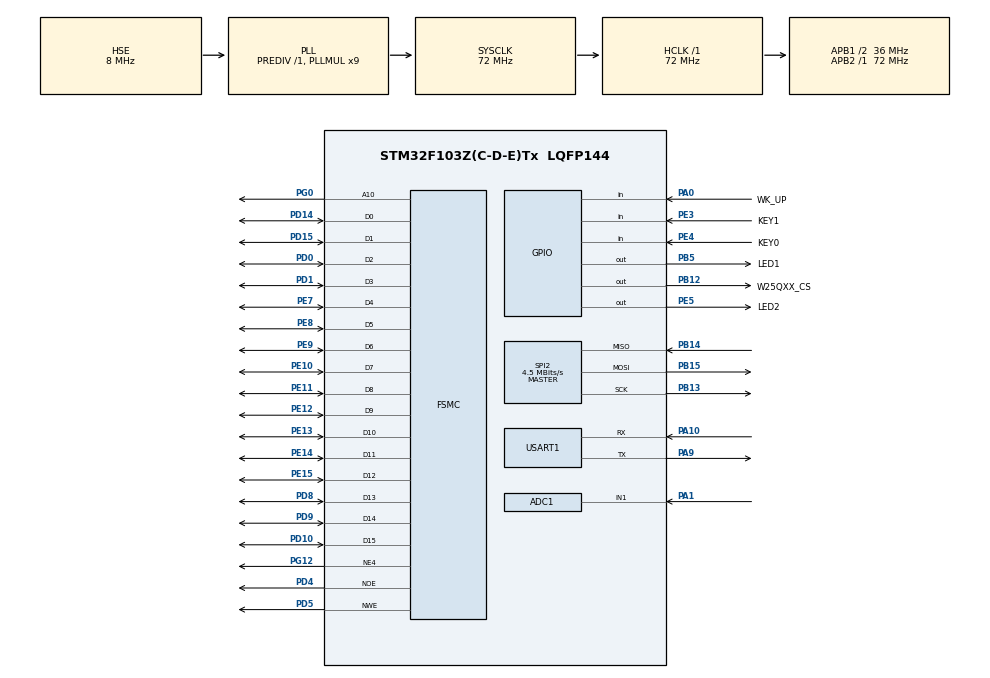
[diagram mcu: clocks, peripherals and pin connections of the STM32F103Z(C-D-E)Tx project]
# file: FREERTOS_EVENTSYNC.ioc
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ADC1.Channel-3\#ChannelRegularConversion=ADC_CHANNEL_1
ADC1.ExternalTrigConv=ADC_EXTERNALTRIGCONV_T3_TRGO
ADC1.NbrOfConversionFlag=1
ADC1.Rank-3\#ChannelRegularConversion=1
ADC1.SamplingTime-3\#ChannelRegularConversion=ADC_SAMPLETIME_1CYCLE_5
ADC1.master=1
FREERTOS.BinarySemaphores01=BinSem_DataReady,Dynamic,NULL
FREERTOS.INCLUDE_xEventGroupSetBitFromISR=1
FREERTOS.INCLUDE_xTaskAbortDelay=1
FREERTOS.INCLUDE_xTaskGetCurrentTaskHandle=1
FREERTOS.INCLUDE_xTaskGetHandle=1
FREERTOS.Queues01=Queue_Keys,10,uint8_t,0,Dynamic,NULL,NULL
FREERTOS.Tasks01=Task_LCD,24,128,AppTask_LCD,Default,NULL,Dynamic,NULL,NULL;Task_LED1,24,128,AppTask_LED1,Default,NULL,Dynamic,NULL,NULL;Task_LED2,24,128,AppTask_LED2,Default,NULL,Dynamic,NULL,NULL
FSMC.AddressSetupTime4=6
FSMC.BusTurnAroundDuration4=0
FSMC.DataSetupTime4=26
FSMC.ExtendedAddressSetupTime4=3
FSMC.ExtendedBusTurnAroundDuration4=0
FSMC.ExtendedDataSetupTime4=6
FSMC.ExtendedMode4=FSMC_EXTENDED_MODE_ENABLE
Mcu.Family=STM32F1
Mcu.Name=STM32F103Z(C-D-E)Tx
Mcu.Package=LQFP144
NVIC.PriorityGroup=NVIC_PRIORITYGROUP_4
NVIC.RTC_Alarm_IRQn=true\:5\:0\:false\:false\:true\:true\:true\:true\:true
NVIC.RTC_IRQn=true\:5\:0\:false\:false\:true\:true\:true\:true\:true
NVIC.TIM6_IRQn=true\:15\:0\:false\:false\:true\:false\:false\:true\:true
NVIC.TimeBase=TIM6_IRQn
NVIC.TimeBaseIP=TIM6
NVIC.USART1_IRQn=true\:5\:0\:false\:false\:true\:true\:true\:true\:true
OSC_IN.Mode=HSE-External-Oscillator
OSC_IN.Signal=RCC_OSC_IN
OSC_OUT.Mode=HSE-External-Oscillator
OSC_OUT.Signal=RCC_OSC_OUT
PA0-WKUP.GPIO_Label=WK_UP
PA0-WKUP.GPIO_PuPd=GPIO_PULLDOWN
PA0-WKUP.Signal=GPIO_Input
PA1.Signal=ADCx_IN1
PA10.Mode=Asynchronous
PA10.Signal=USART1_RX
PA13.Mode=Serial_Wire
PA13.Signal=SYS_JTMS-SWDIO
PA14.Mode=Serial_Wire
PA14.Signal=SYS_JTCK-SWCLK
PA9.Mode=Asynchronous
PA9.Signal=USART1_TX
PB12.GPIO_Label=W25QXX_CS
PB12.GPIO_PuPd=GPIO_PULLUP
PB12.GPIO_Speed=GPIO_SPEED_FREQ_HIGH
PB12.PinState=GPIO_PIN_SET
PB12.Signal=GPIO_Output
PB13.Mode=Full_Duplex_Master
PB13.Signal=SPI2_SCK
PB14.Mode=Full_Duplex_Master
PB14.Signal=SPI2_MISO
PB15.Mode=Full_Duplex_Master
PB15.Signal=SPI2_MOSI
PB5.GPIO_Label=LED1
PB5.GPIO_Speed=GPIO_SPEED_FREQ_HIGH
PB5.Signal=GPIO_Output
PC14-OSC32_IN.Mode=LSE-External-Oscillator
PC14-OSC32_IN.Signal=RCC_OSC32_IN
PC15-OSC32_OUT.Mode=LSE-External-Oscillator
PC15-OSC32_OUT.Signal=RCC_OSC32_OUT
PD0.Signal=FSMC_D2_DA2
PD1.Signal=FSMC_D3_DA3
PD10.Signal=FSMC_D15_DA15
PD14.Signal=FSMC_D0_DA0
PD15.Signal=FSMC_D1_DA1
PD4.Signal=FSMC_NOE
PD5.Signal=FSMC_NWE
PD8.Signal=FSMC_D13_DA13
PD9.Signal=FSMC_D14_DA14
PE10.Signal=FSMC_D7_DA7
PE11.Signal=FSMC_D8_DA8
PE12.Signal=FSMC_D9_DA9
PE13.Signal=FSMC_D10_DA10
PE14.Signal=FSMC_D11_DA11
PE15.Signal=FSMC_D12_DA12
PE3.GPIO_Label=KEY1
PE3.GPIO_PuPd=GPIO_PULLUP
PE3.Signal=GPIO_Input
PE4.GPIO_Label=KEY0
PE4.GPIO_PuPd=GPIO_PULLUP
PE4.Signal=GPIO_Input
PE5.GPIO_Label=LED2
PE5.GPIO_Speed=GPIO_SPEED_FREQ_HIGH
PE5.Signal=GPIO_Output
PE7.Signal=FSMC_D4_DA4
PE8.Signal=FSMC_D5_DA5
PE9.Signal=FSMC_D6_DA6
PG0.Signal=FSMC_A10
PG12.Mode=NorPsramChipSelect4_4
PG12.Signal=FSMC_NE4
ProjectManager.HeapSize=0x200
ProjectManager.StackSize=0x400
ProjectManager.TargetToolchain=STM32CubeIDE
RCC.AHBFreq_Value=72000000
RCC.APB1CLKDivider=RCC_HCLK_DIV2
RCC.APB1Freq_Value=36000000
RCC.APB1TimFreq_Value=72000000
RCC.APB2Freq_Value=72000000
RCC.APB2TimFreq_Value=72000000
RCC.HCLKFreq_Value=72000000
RCC.PLLMUL=RCC_PLL_MUL9
RCC.PLLSourceVirtual=RCC_PLLSOURCE_HSE
RCC.RTCClockSelection=RCC_RTCCLKSOURCE_LSE
RCC.SYSCLKFreq_VALUE=72000000
RCC.SYSCLKSource=RCC_SYSCLKSOURCE_PLLCLK
RCC.USBFreq_Value=72000000
RTC.AutoPrediv=RTC_AUTO_1_SECOND
RTC.Format=RTC_FORMAT_BIN
SH.ADCx_IN1.0=ADC1_IN1,IN1
SH.FSMC_A10.0=FSMC_A10,A10_4
SH.FSMC_D0_DA0.0=FSMC_D0,16b-d4
SH.FSMC_D10_DA10.0=FSMC_D10,16b-d4
SH.FSMC_D11_DA11.0=FSMC_D11,16b-d4
SH.FSMC_D12_DA12.0=FSMC_D12,16b-d4
SH.FSMC_D13_DA13.0=FSMC_D13,16b-d4
SH.FSMC_D14_DA14.0=FSMC_D14,16b-d4
SH.FSMC_D15_DA15.0=FSMC_D15,16b-d4
SH.FSMC_D1_DA1.0=FSMC_D1,16b-d4
SH.FSMC_D2_DA2.0=FSMC_D2,16b-d4
SH.FSMC_D3_DA3.0=FSMC_D3,16b-d4
SH.FSMC_D4_DA4.0=FSMC_D4,16b-d4
SH.FSMC_D5_DA5.0=FSMC_D5,16b-d4
SH.FSMC_D6_DA6.0=FSMC_D6,16b-d4
SH.FSMC_D7_DA7.0=FSMC_D7,16b-d4
SH.FSMC_D8_DA8.0=FSMC_D8,16b-d4
SH.FSMC_D9_DA9.0=FSMC_D9,16b-d4
SH.FSMC_NOE.0=FSMC_NOE,Lcd4
SH.FSMC_NWE.0=FSMC_NWE,Lcd4
SPI2.BaudRatePrescaler=SPI_BAUDRATEPRESCALER_8
SPI2.CLKPhase=SPI_PHASE_2EDGE
SPI2.CLKPolarity=SPI_POLARITY_HIGH
SPI2.CRCCalculation=SPI_CRCCALCULATION_DISABLE
SPI2.CalculateBaudRate=4.5 MBits/s
SPI2.Direction=SPI_DIRECTION_2LINES
SPI2.Mode=SPI_MODE_MASTER
SPI2.VirtualType=VM_MASTER
TIM3.Period=4999
TIM3.Prescaler=7199
TIM3.TIM_MasterOutputTrigger=TIM_TRGO_UPDATE
USART1.VirtualMode=VM_ASYNC
VP_FREERTOS_VS_CMSIS_V2.Mode=CMSIS_V2
VP_RTC_VS_RTC_Activate.Mode=RTC_Enabled
VP_SYS_VS_tim6.Mode=TIM6
VP_TIM3_VS_ClockSourceINT.Mode=Internal
board=custom

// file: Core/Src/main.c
/* USER CODE BEGIN Header */
/**
  ******************************************************************************
  * @file           : main.c
  * @brief          : Main program body
  ******************************************************************************
  * @attention
  *
  * Copyright (c) 2023 STMicroelectronics.
  * All rights reserved.
  *
  * This software is licensed under terms that can be found in the LICENSE file
  * in the root directory of this software component.
  * If no LICENSE file comes with this software, it is provided AS-IS.
  *
  ******************************************************************************
  */
/* USER CODE END Header */
#include "main.h"
#include "cmsis_os.h"
#include "adc.h"
#include "rtc.h"
#include "spi.h"
#include "tim.h"
#include "usart.h"
#include "gpio.h"
#include "fsmc.h"

/* USER CODE BEGIN Includes */
#include "stdio.h"
#include "lcd.h"
#include "w25qxx.h"
#include <string.h>
/* USER CODE END Includes */

void SystemClock_Config(void);
void MX_FREERTOS_Init(void);

int main(void)
{
  /* USER CODE BEGIN 1 */
	int x = 0,FLASH_SIZE,id;
	u8 lcd_id[12],datatemp[20];						//存放LCD ID字符�??????????????????
  /* USER CODE END 1 */

  /* MCU Configuration--------------------------------------------------------*/

  /* Reset of all peripherals, Initializes the Flash interface and the Systick. */
  HAL_Init();

  /* Configure the system clock */
  SystemClock_Config();

  /* Initialize all configured peripherals */
  MX_GPIO_Init();
  MX_USART1_UART_Init();
  MX_FSMC_Init();
  MX_SPI2_Init();
  MX_RTC_Init();
  MX_ADC1_Init();
  MX_TIM3_Init();
  /* USER CODE BEGIN 2 */
	LCD_Init();
	POINT_COLOR=RED;     				//画笔颜色：红�??????????????????
//	sprintf((char*)lcd_id,"LCD ID:%04X",lcddev.id);//将LCD ID打印到lcd_id数组�??????????????????
	LCD_Clear(WHITE);
//	POINT_COLOR=RED;
//	HAL_ADC_Start_IT(&hadc1); //以中断方式启动ADC
//	HAL_TIM_Base_Start(&htim3); //启动定时�??
	LCD_ShowString(30,40,210,12,12,"Demo7_2:Events Synchronization");

  /* USER CODE END 2 */

  /* Init scheduler */
  osKernelInitialize();  /* Call init function for freertos objects (in freertos.c) */
  MX_FREERTOS_Init();

  /* Start scheduler */
  osKernelStart();
  /* We should never get here as control is now taken by the scheduler */
  /* Infinite loop */
  /* USER CODE BEGIN WHILE */
	while (1)
	{

		osDelay(500);
		HAL_GPIO_TogglePin(LED1_GPIO_Port,LED1_Pin);
    /* USER CODE END WHILE */

  }
}

void SystemClock_Config(void)
{
  RCC_OscInitTypeDef RCC_OscInitStruct = {0};
  RCC_ClkInitTypeDef RCC_ClkInitStruct = {0};
  RCC_PeriphCLKInitTypeDef PeriphClkInit = {0};

  /** Initializes the RCC Oscillators according to the specified parameters
  * in the RCC_OscInitTypeDef structure.
  */
  RCC_OscInitStruct.OscillatorType = RCC_OSCILLATORTYPE_HSE|RCC_OSCILLATORTYPE_LSE;
  RCC_OscInitStruct.HSEState = RCC_HSE_ON;
  RCC_OscInitStruct.HSEPredivValue = RCC_HSE_PREDIV_DIV1;
  RCC_OscInitStruct.LSEState = RCC_LSE_ON;
  RCC_OscInitStruct.HSIState = RCC_HSI_ON;
  RCC_OscInitStruct.PLL.PLLState = RCC_PLL_ON;
  RCC_OscInitStruct.PLL.PLLSource = RCC_PLLSOURCE_HSE;
  RCC_OscInitStruct.PLL.PLLMUL = RCC_PLL_MUL9;
  if (HAL_RCC_OscConfig(&RCC_OscInitStruct) != HAL_OK)
  {
    Error_Handler();
  }

  /** Initializes the CPU, AHB and APB buses clocks
  */
  RCC_ClkInitStruct.ClockType = RCC_CLOCKTYPE_HCLK|RCC_CLOCKTYPE_SYSCLK
                              |RCC_CLOCKTYPE_PCLK1|RCC_CLOCKTYPE_PCLK2;
  RCC_ClkInitStruct.SYSCLKSource = RCC_SYSCLKSOURCE_PLLCLK;
  RCC_ClkInitStruct.AHBCLKDivider = RCC_SYSCLK_DIV1;
  RCC_ClkInitStruct.APB1CLKDivider = RCC_HCLK_DIV2;
  RCC_ClkInitStruct.APB2CLKDivider = RCC_HCLK_DIV1;

  if (HAL_RCC_ClockConfig(&RCC_ClkInitStruct, FLASH_LATENCY_2) != HAL_OK)
  {
    Error_Handler();
  }
  PeriphClkInit.PeriphClockSelection = RCC_PERIPHCLK_RTC|RCC_PERIPHCLK_ADC;
  PeriphClkInit.RTCClockSelection = RCC_RTCCLKSOURCE_LSE;
  PeriphClkInit.AdcClockSelection = RCC_ADCPCLK2_DIV2;
  if (HAL_RCCEx_PeriphCLKConfig(&PeriphClkInit) != HAL_OK)
  {
    Error_Handler();
  }
}

/* USER CODE BEGIN 4 */

void delay_us(uint32_t udelay)
{
  uint32_t startval,tickn,delays,wait;

  startval = SysTick->VAL;
  tickn = HAL_GetTick();
  //sysc = 72000;  //SystemCoreClock / (1000U / uwTickFreq);
  delays =udelay * 72; //sysc / 1000 * udelay;
  if(delays > startval)
    {
      while(HAL_GetTick() == tickn)
        {

        }
      wait = 72000 + startval - delays;
      while(wait < SysTick->VAL)
        {

        }
    }
  else
    {
      wait = startval - delays;
      while(wait < SysTick->VAL && HAL_GetTick() == tickn)
        {

        }
    }
}

void delay_ms(uint32_t udelay)
{
	HAL_Delay(udelay);
	//osDelay(udelay);
}
/* USER CODE END 4 */

void HAL_TIM_PeriodElapsedCallback(TIM_HandleTypeDef *htim)
{
  if (htim->Instance == TIM6) {
    HAL_IncTick();
  }
}

void Error_Handler(void)
{
  __disable_irq();
  while (1)
  {
  }
}

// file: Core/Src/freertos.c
/* USER CODE BEGIN Header */
/**
  ******************************************************************************
  * File Name          : freertos.c
  * Description        : Code for freertos applications
  ******************************************************************************
  * @attention
  *
  * Copyright (c) 2023 STMicroelectronics.
  * All rights reserved.
  *
  * This software is licensed under terms that can be found in the LICENSE file
  * in the root directory of this software component.
  * If no LICENSE file comes with this software, it is provided AS-IS.
  *
  ******************************************************************************
  */
/* USER CODE END Header */

#include "FreeRTOS.h"
#include "task.h"
#include "main.h"
#include "cmsis_os.h"

/* USER CODE BEGIN Includes */
#include "lcd.h"
#include "adc.h"
#include "gpio.h"
#include "queue.h"
#include "semphr.h"
#include "event_groups.h" //事件组相关头文件
/* USER CODE END Includes */

/* USER CODE BEGIN PD */
#define BITMASK_KEY_LEFT 0x04 //事件位掩码定义
#define BITMASK_KEY_DOWN 0x02
#define BITMASK_KEY_RIGHT 0x01
#define BITMASK_SYNC BITMASK_KEY_LEFT | BITMASK_KEY_DOWN | BITMASK_KEY_RIGHT
/* USER CODE END PD */

/* USER CODE BEGIN Variables */
uint32_t adc_value;
EventGroupHandle_t eventGroupHandle; //事件组对象句�?
/* USER CODE END Variables */
/* Definitions for Task_LCD */
osThreadId_t Task_LCDHandle;
const osThreadAttr_t Task_LCD_attributes = {
  .name = "Task_LCD",
  .stack_size = 128 * 4,
  .priority = (osPriority_t) osPriorityNormal,
};
/* Definitions for Task_LED1 */
osThreadId_t Task_LED1Handle;
const osThreadAttr_t Task_LED1_attributes = {
  .name = "Task_LED1",
  .stack_size = 128 * 4,
  .priority = (osPriority_t) osPriorityNormal,
};
/* Definitions for Task_LED2 */
osThreadId_t Task_LED2Handle;
const osThreadAttr_t Task_LED2_attributes = {
  .name = "Task_LED2",
  .stack_size = 128 * 4,
  .priority = (osPriority_t) osPriorityNormal,
};
/* Definitions for Queue_Keys */
osMessageQueueId_t Queue_KeysHandle;
const osMessageQueueAttr_t Queue_Keys_attributes = {
  .name = "Queue_Keys"
};
/* Definitions for BinSem_DataReady */
osSemaphoreId_t BinSem_DataReadyHandle;
const osSemaphoreAttr_t BinSem_DataReady_attributes = {
  .name = "BinSem_DataReady"
};

void AppTask_LCD(void *argument);
void AppTask_LED1(void *argument);
void AppTask_LED2(void *argument);

void MX_FREERTOS_Init(void); /* (MISRA C 2004 rule 8.1) */

void MX_FREERTOS_Init(void) {

  /* Create the semaphores(s) */
  /* creation of BinSem_DataReady */
  BinSem_DataReadyHandle = osSemaphoreNew(1, 1, &BinSem_DataReady_attributes);

  /* Create the queue(s) */
  /* creation of Queue_Keys */
  Queue_KeysHandle = osMessageQueueNew (10, sizeof(uint8_t), &Queue_Keys_attributes);

  /* USER CODE BEGIN RTOS_QUEUES */
  /* add queues, ... */
  eventGroupHandle= xEventGroupCreate(); //创建事件�?
  /* USER CODE END RTOS_QUEUES */

  /* Create the thread(s) */
  /* creation of Task_LCD */
  Task_LCDHandle = osThreadNew(AppTask_LCD, NULL, &Task_LCD_attributes);

  /* creation of Task_LED1 */
  Task_LED1Handle = osThreadNew(AppTask_LED1, NULL, &Task_LED1_attributes);

  /* creation of Task_LED2 */
  Task_LED2Handle = osThreadNew(AppTask_LED2, NULL, &Task_LED2_attributes);

}

void AppTask_LCD(void *argument)
{
  /* USER CODE BEGIN AppTask_LCD */
  /* Infinite loop */
	for(;;)
	{
		if(KEY0 == KEY_DOWN)
		{
			break;
		}
	}
	LCD_ShowString(30,55,210,12,12,"Task_LCD reaches sync point");
	xEventGroupSync(eventGroupHandle, BITMASK_KEY_LEFT, BITMASK_SYNC, portMAX_DELAY);
	for(;;)
	{
		for(uint8_t i=0; i<10; i++)
		{
			LCD_ShowNum(30,100,i,4,12);
			vTaskDelay(pdMS_TO_TICKS(500));
		}
	}
  /* USER CODE END AppTask_LCD */
}

void AppTask_LED1(void *argument)
{
  /* USER CODE BEGIN AppTask_LED1 */
  /* Infinite loop */
	for(;;)
	{
		if(KEY1 == KEY_DOWN)
		{
			break;
		}
	}
	LCD_ShowString(30,70,210,12,12,"Task_LED1 reaches sync point");
	xEventGroupSync(eventGroupHandle, BITMASK_KEY_RIGHT, BITMASK_SYNC, portMAX_DELAY);
	for(;;)
	{
		HAL_GPIO_TogglePin(LED1_GPIO_Port, LED1_Pin);
		vTaskDelay(pdMS_TO_TICKS(300));
	}
  /* USER CODE END AppTask_LED1 */
}

void AppTask_LED2(void *argument)
{
  /* USER CODE BEGIN AppTask_LED2 */
  /* Infinite loop */
	for(;;)
	{
		if(WK_UP == KEY_DOWN)
		{
			break;
		}
	}
	LCD_ShowString(30,85,210,12,12,"Task_LED2 reaches sync point");
	xEventGroupSync(eventGroupHandle, BITMASK_KEY_DOWN, BITMASK_SYNC, portMAX_DELAY);
	for(;;)
	{
		HAL_GPIO_TogglePin(LED2_GPIO_Port, LED2_Pin);
		vTaskDelay(pdMS_TO_TICKS(600));
	}
  /* USER CODE END AppTask_LED2 */
}
